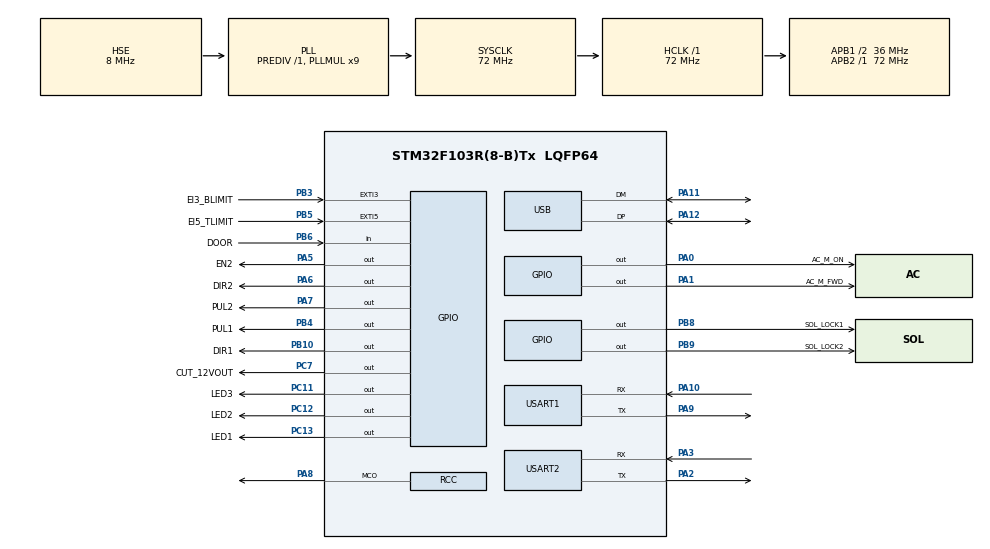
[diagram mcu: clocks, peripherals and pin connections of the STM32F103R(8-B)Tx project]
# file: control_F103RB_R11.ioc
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Mcu.Family=STM32F1
USB_DEVICE.CLASS_NAME_FS=CDC
PB10.GPIO_Speed=GPIO_SPEED_FREQ_HIGH
PC12.Signal=GPIO_Output
PA14.GPIO_Label=SWCLK
NVIC.EXTI3_IRQn=true\:0\:0\:false\:false\:true\:true\:true
PA11.Mode=Device
PA7.GPIO_ModeDefaultOutputPP=GPIO_MODE_OUTPUT_OD
PA6.GPIO_Label=DIR2
PB6.GPIO_Label=DOOR
PB3.GPIO_ModeDefaultEXTI=GPIO_MODE_IT_FALLING
RCC.SYSCLKSource=RCC_SYSCLKSOURCE_PLLCLK
ProjectManager.StackSize=0x400
PD1-OSC_OUT.Signal=RCC_OSC_OUT
PB10.GPIO_ModeDefaultOutputPP=GPIO_MODE_OUTPUT_OD
PA12.Signal=USB_DP
RCC.HCLKFreq_Value=72000000
RCC.APB2TimFreq_Value=72000000
TIM3.Period=719
PB6.Signal=GPIO_Input
PC7.Signal=GPIO_Output
PA1.GPIO_PuPd=GPIO_PULLUP
RCC.AHBFreq_Value=72000000
RCC.PLLMUL=RCC_PLL_MUL9
PA14.Mode=Serial_Wire
TIM3.Prescaler=9999
PC11.GPIO_Label=LED3
PA8.Signal=RCC_MCO
TIM4.Period=7199
Mcu.Package=LQFP64
PB9.Signal=GPIO_Output
PA6.Signal=GPIO_Output
USART2.VirtualMode=VM_ASYNC
PA10.Signal=USART1_RX
PA6.GPIO_ModeDefaultOutputPP=GPIO_MODE_OUTPUT_OD
PB5.GPIO_Label=EI5_TLIMIT
RCC.APB1TimFreq_Value=72000000
PA6.GPIO_Speed=GPIO_SPEED_FREQ_HIGH
NVIC.USART1_IRQn=true\:0\:0\:false\:false\:true\:true\:true
VP_TIM3_VS_ClockSourceINT.Mode=Internal
PB4.Signal=GPIO_Output
PB4.GPIO_ModeDefaultOutputPP=GPIO_MODE_OUTPUT_OD
PA3.Signal=USART2_RX
PB3.GPIO_Label=EI3_BLIMIT
PB5.GPIO_ModeDefaultEXTI=GPIO_MODE_IT_FALLING
PD1-OSC_OUT.Mode=HSE-External-Oscillator
PB9.GPIO_Label=SOL_LOCK2
PA10.Mode=Asynchronous
USB_DEVICE.VirtualModeFS=Cdc_FS
PC11.Signal=GPIO_Output
PC13-TAMPER-RTC.Signal=GPIO_Output
RCC.USBPrescaler=RCC_USBCLKSOURCE_PLL_DIV1_5
PD0-OSC_IN.Signal=RCC_OSC_IN
RCC.APB1CLKDivider=RCC_HCLK_DIV2
NVIC.USART2_IRQn=true\:0\:0\:false\:false\:true\:true\:true
PA0-WKUP.GPIO_Label=AC_M_ON
PA0-WKUP.Signal=GPIO_Output
PA3.Mode=Asynchronous
PA13.Signal=SYS_JTMS-SWDIO
PB8.GPIO_Label=SOL_LOCK1
PA9.Mode=Asynchronous
ProjectManager.TargetToolchain=STM32CubeIDE
PB10.GPIO_Label=DIR1
VP_USB_DEVICE_VS_USB_DEVICE_CDC_FS.Mode=CDC_FS
PA9.Signal=USART1_TX
RCC.USBFreq_Value=48000000
TIM4.Prescaler=9999
PA1.Signal=GPIO_Output
PD0-OSC_IN.Mode=HSE-External-Oscillator
PB10.Signal=GPIO_Output
PA5.Signal=GPIO_Output
board=custom
PC13-TAMPER-RTC.GPIO_Label=LED1
PA7.GPIO_Speed=GPIO_SPEED_FREQ_HIGH
NVIC.TIM3_IRQn=true\:0\:0\:false\:false\:true\:true\:true
PB4.GPIO_Speed=GPIO_SPEED_FREQ_HIGH
RCC.APB2Freq_Value=72000000
PB4.GPIO_Label=PUL1
PA5.GPIO_ModeDefaultOutputPP=GPIO_MODE_OUTPUT_OD
NVIC.USB_LP_CAN1_RX0_IRQn=true\:0\:0\:false\:false\:true\:false\:true
PA1.GPIO_Label=AC_M_FWD
RCC.RCC_MCOSource=RCC_MCO1SOURCE_PLLCLK
PA13.Mode=Serial_Wire
Mcu.Name=STM32F103R(8-B)Tx
PA2.Signal=USART2_TX
PA13.GPIO_Label=SWDIO
PC7.GPIO_Label=CUT_12VOUT
PB3.Signal=GPXTI3
RCC.SYSCLKFreq_VALUE=72000000
PB5.Signal=GPXTI5
PA7.GPIO_Label=PUL2
PA12.Mode=Device
PA5.GPIO_Label=EN2
PC12.GPIO_Label=LED2
USART1.VirtualMode=VM_ASYNC
PA11.Signal=USB_DM
NVIC.EXTI9_5_IRQn=true\:0\:0\:false\:false\:true\:true\:true
PA14.Signal=SYS_JTCK-SWCLK
ProjectManager.HeapSize=0x200
VP_TIM4_VS_ClockSourceINT.Mode=Internal
NVIC.PriorityGroup=NVIC_PRIORITYGROUP_4
PA2.Mode=Asynchronous
PB8.Signal=GPIO_Output
PA0-WKUP.GPIO_PuPd=GPIO_PULLUP
PA8.Mode=Clock-out
NVIC.TIM4_IRQn=true\:0\:0\:false\:false\:true\:true\:true
RCC.APB1Freq_Value=36000000
USB_DEVICE.VirtualMode=Cdc
PA7.Signal=GPIO_Output

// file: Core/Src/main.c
/* USER CODE BEGIN Header */
/**
  ******************************************************************************
  * @file           : main.c
  * @brief          : Main program body
  ******************************************************************************
  * @attention
  *
  * <h2><center>&copy; Copyright (c) 2021 STMicroelectronics.
  * All rights reserved.</center></h2>
  *
  * This software component is licensed by ST under BSD 3-Clause license,
  * the "License"; You may not use this file except in compliance with the
  * License. You may obtain a copy of the License at:
  *                        opensource.org/licenses/BSD-3-Clause
  *
  ******************************************************************************
  */
/* USER CODE END Header */
#include "main.h"
#include "usb_device.h"

/* USER CODE BEGIN Includes */
#include <stdio.h>
#include <string.h>
#include <stdlib.h>
#include "usbd_cdc_if.h"

/* USER CODE END Includes */

/* USER CODE BEGIN PTD */
#define EOT		0x0d   // '\r'  0x0d
#define DEBUGPORT	huart1		// default huart1
#define COMMUART	USART2		// default USART2
#define COMMPORT	huart2    // default huart2
#define COMMDATA	rx2_data	// default rx2_data
#define	ALIVE_PRIOD	180
#define REPORT_DOOR 1
#define	REPORT_CMD	0
#define SOL_LOCK
/* USER CODE END PTD */

TIM_HandleTypeDef htim3;
TIM_HandleTypeDef htim4;

UART_HandleTypeDef huart1;
UART_HandleTypeDef huart2;

/* USER CODE BEGIN PV */
uint8_t COMMDATA;
uint8_t buf_index = 0;
uint8_t Rxcplt_flag = 0;
uint8_t CDC_flag = 0;
uint8_t PAD_boot_flag = 0;
uint8_t door_status = 1;

char CDCbuffer[100] = "";
char Rxbuffer[100] = "";
char Txbuffer[12] = "";	//to add checksum psh 2020.07.28 Again...!!
//char Txbuffer[11] = "";
int time_second = 0;
//int	alive_call_fail = 0;
volatile int alive_call_fail = 0;
int close_check = 0;
int open_check = 0;
int door_check = 0;
int door_check_enable = 0;

struct Board_state {
	char cmd[5];
	char door[5];
	char lock[5];
	char scan[5];
	char end[5];
};
struct Board_state Bstate = { "BS,", "1,", "1,", "0,", "\r" };   // EOT == \r

/* USER CODE END PV */

void SystemClock_Config(void);
static void MX_GPIO_Init(void);
static void MX_USART1_UART_Init(void);
static void MX_USART2_UART_Init(void);
static void MX_TIM4_Init(void);
static void MX_TIM3_Init(void);

/* USER CODE BEGIN PFP */

#ifdef DEBUGPORT
	int _write(int file, char *ptr, int len) {
		HAL_UART_Transmit(&DEBUGPORT, (uint8_t*) ptr, (uint16_t) len, 0xFFFFFFFF);
		return len;
	}
#else
		int _write(int file, char *ptr, int len) {
		CDC_Transmit_FS((uint8_t*) ptr, (uint16_t) len);
		return len;
	}
#endif

void Report_to_Server(int report_path);
void Rfid_Scanning(int speed);		// unit: seconds
// void check_tablet_alive(int max_trying_count);
void check_door(void);
void command_parsing(char *str_ptr);
/* USER CODE END PFP */

int main(void)
{

  /* MCU Configuration--------------------------------------------------------*/

  /* Reset of all peripherals, Initializes the Flash interface and the Systick. */
  HAL_Init();

  /* Configure the system clock */
  SystemClock_Config();

  /* Initialize all configured peripherals */
  MX_GPIO_Init();
  MX_USART1_UART_Init();
  MX_USART2_UART_Init();
  MX_USB_DEVICE_Init();
  MX_TIM4_Init();
  MX_TIM3_Init();
  /* USER CODE BEGIN 2 */
	HAL_UART_Receive_IT(&COMMPORT, &COMMDATA, 1);
	HAL_TIM_Base_Start_IT(&htim3);
	HAL_TIM_Base_Start_IT(&htim4);

	//2020.07.28 psh
	#ifndef SOL_LOCK
	// 2020.07.28 psh - EM lock
		HAL_GPIO_WritePin(SOL_LOCK1_GPIO_Port, SOL_LOCK1_Pin, GPIO_PIN_SET); // unlock SOL_LOCK1 --> LOCK of EM Lock
		HAL_GPIO_WritePin(SOL_LOCK2_GPIO_Port, SOL_LOCK2_Pin, GPIO_PIN_SET); // unlock SOL_LOCK2 --> LOCK of EM Lock
	#endif

	HAL_GPIO_WritePin(AC_M_FWD_GPIO_Port, AC_M_FWD_Pin, GPIO_PIN_SET);	// CW direction
	HAL_GPIO_WritePin(AC_M_ON_GPIO_Port, AC_M_ON_Pin, GPIO_PIN_SET);  // AC Motor Power off

  /* USER CODE END 2 */

  /* Infinite loop */
  /* USER CODE BEGIN WHILE */
		char *str_ptr = NULL;

		printf(" hello? \r\n");
		HAL_GPIO_WritePin(LED3_GPIO_Port, LED3_Pin, GPIO_PIN_SET);		// SCAN LED Off

		while (1) {

			if (CDC_flag == 1) {
				printf(" Received CDC data: %s\r\n", CDCbuffer);
				if (CDCbuffer[0] != '\0') {
					str_ptr = strtok(CDCbuffer, ",");
					printf(" command: %s\r\n", str_ptr);
					command_parsing(str_ptr);
				}
				CDC_flag = 0;
			}

			if (Rxcplt_flag == 1) {
				printf(" Received data: %s\r\n", Rxbuffer);

				if (Rxbuffer[0] != '\0') {
					str_ptr = strtok(Rxbuffer, ",");
					printf(" command: %s\r\n", str_ptr);
					command_parsing(str_ptr);
				}   // end if(Rxbuffer[0] != '\0')
				// buf_index = 0;	move to  void HAL_UART_RxCpltCallback
				Rxcplt_flag = 0;
			}   // end if(Rxcplt_flag == 1)

	/*		if (time_second >= ALIVE_PRIOD)
				check_tablet_alive(3);
	*/
			if (door_check_enable == 1)
				check_door();
    /* USER CODE END WHILE */

  }
}

void SystemClock_Config(void)
{
  RCC_OscInitTypeDef RCC_OscInitStruct = {0};
  RCC_ClkInitTypeDef RCC_ClkInitStruct = {0};
  RCC_PeriphCLKInitTypeDef PeriphClkInit = {0};

  /** Initializes the RCC Oscillators according to the specified parameters
  * in the RCC_OscInitTypeDef structure.
  */
  RCC_OscInitStruct.OscillatorType = RCC_OSCILLATORTYPE_HSE;
  RCC_OscInitStruct.HSEState = RCC_HSE_ON;
  RCC_OscInitStruct.HSEPredivValue = RCC_HSE_PREDIV_DIV1;
  RCC_OscInitStruct.HSIState = RCC_HSI_ON;
  RCC_OscInitStruct.PLL.PLLState = RCC_PLL_ON;
  RCC_OscInitStruct.PLL.PLLSource = RCC_PLLSOURCE_HSE;
  RCC_OscInitStruct.PLL.PLLMUL = RCC_PLL_MUL9;
  if (HAL_RCC_OscConfig(&RCC_OscInitStruct) != HAL_OK)
  {
    Error_Handler();
  }
  /** Initializes the CPU, AHB and APB buses clocks
  */
  RCC_ClkInitStruct.ClockType = RCC_CLOCKTYPE_HCLK|RCC_CLOCKTYPE_SYSCLK
                              |RCC_CLOCKTYPE_PCLK1|RCC_CLOCKTYPE_PCLK2;
  RCC_ClkInitStruct.SYSCLKSource = RCC_SYSCLKSOURCE_PLLCLK;
  RCC_ClkInitStruct.AHBCLKDivider = RCC_SYSCLK_DIV1;
  RCC_ClkInitStruct.APB1CLKDivider = RCC_HCLK_DIV2;
  RCC_ClkInitStruct.APB2CLKDivider = RCC_HCLK_DIV1;

  if (HAL_RCC_ClockConfig(&RCC_ClkInitStruct, FLASH_LATENCY_2) != HAL_OK)
  {
    Error_Handler();
  }
  PeriphClkInit.PeriphClockSelection = RCC_PERIPHCLK_USB;
  PeriphClkInit.UsbClockSelection = RCC_USBCLKSOURCE_PLL_DIV1_5;
  if (HAL_RCCEx_PeriphCLKConfig(&PeriphClkInit) != HAL_OK)
  {
    Error_Handler();
  }
  HAL_RCC_MCOConfig(RCC_MCO, RCC_MCO1SOURCE_PLLCLK, RCC_MCODIV_1);
}

static void MX_TIM3_Init(void)
{

  TIM_ClockConfigTypeDef sClockSourceConfig = {0};
  TIM_MasterConfigTypeDef sMasterConfig = {0};

  htim3.Instance = TIM3;
  htim3.Init.Prescaler = 9999;
  htim3.Init.CounterMode = TIM_COUNTERMODE_UP;
  htim3.Init.Period = 719;
  htim3.Init.ClockDivision = TIM_CLOCKDIVISION_DIV1;
  htim3.Init.AutoReloadPreload = TIM_AUTORELOAD_PRELOAD_DISABLE;
  if (HAL_TIM_Base_Init(&htim3) != HAL_OK)
  {
    Error_Handler();
  }
  sClockSourceConfig.ClockSource = TIM_CLOCKSOURCE_INTERNAL;
  if (HAL_TIM_ConfigClockSource(&htim3, &sClockSourceConfig) != HAL_OK)
  {
    Error_Handler();
  }
  sMasterConfig.MasterOutputTrigger = TIM_TRGO_RESET;
  sMasterConfig.MasterSlaveMode = TIM_MASTERSLAVEMODE_DISABLE;
  if (HAL_TIMEx_MasterConfigSynchronization(&htim3, &sMasterConfig) != HAL_OK)
  {
    Error_Handler();
  }

}

static void MX_TIM4_Init(void)
{

  TIM_ClockConfigTypeDef sClockSourceConfig = {0};
  TIM_MasterConfigTypeDef sMasterConfig = {0};

  htim4.Instance = TIM4;
  htim4.Init.Prescaler = 9999;
  htim4.Init.CounterMode = TIM_COUNTERMODE_UP;
  htim4.Init.Period = 7199;
  htim4.Init.ClockDivision = TIM_CLOCKDIVISION_DIV1;
  htim4.Init.AutoReloadPreload = TIM_AUTORELOAD_PRELOAD_DISABLE;
  if (HAL_TIM_Base_Init(&htim4) != HAL_OK)
  {
    Error_Handler();
  }
  sClockSourceConfig.ClockSource = TIM_CLOCKSOURCE_INTERNAL;
  if (HAL_TIM_ConfigClockSource(&htim4, &sClockSourceConfig) != HAL_OK)
  {
    Error_Handler();
  }
  sMasterConfig.MasterOutputTrigger = TIM_TRGO_RESET;
  sMasterConfig.MasterSlaveMode = TIM_MASTERSLAVEMODE_DISABLE;
  if (HAL_TIMEx_MasterConfigSynchronization(&htim4, &sMasterConfig) != HAL_OK)
  {
    Error_Handler();
  }

}

static void MX_USART1_UART_Init(void)
{

  huart1.Instance = USART1;
  huart1.Init.BaudRate = 115200;
  huart1.Init.WordLength = UART_WORDLENGTH_8B;
  huart1.Init.StopBits = UART_STOPBITS_1;
  huart1.Init.Parity = UART_PARITY_NONE;
  huart1.Init.Mode = UART_MODE_TX_RX;
  huart1.Init.HwFlowCtl = UART_HWCONTROL_NONE;
  huart1.Init.OverSampling = UART_OVERSAMPLING_16;
  if (HAL_UART_Init(&huart1) != HAL_OK)
  {
    Error_Handler();
  }

}

static void MX_USART2_UART_Init(void)
{

  huart2.Instance = USART2;
  huart2.Init.BaudRate = 115200;
  huart2.Init.WordLength = UART_WORDLENGTH_8B;
  huart2.Init.StopBits = UART_STOPBITS_1;
  huart2.Init.Parity = UART_PARITY_NONE;
  huart2.Init.Mode = UART_MODE_TX_RX;
  huart2.Init.HwFlowCtl = UART_HWCONTROL_NONE;
  huart2.Init.OverSampling = UART_OVERSAMPLING_16;
  if (HAL_UART_Init(&huart2) != HAL_OK)
  {
    Error_Handler();
  }

}

static void MX_GPIO_Init(void)
{
  GPIO_InitTypeDef GPIO_InitStruct = {0};

  /* GPIO Ports Clock Enable */
  __HAL_RCC_GPIOC_CLK_ENABLE();
  __HAL_RCC_GPIOD_CLK_ENABLE();
  __HAL_RCC_GPIOA_CLK_ENABLE();
  __HAL_RCC_GPIOB_CLK_ENABLE();

  /*Configure GPIO pin Output Level */
  HAL_GPIO_WritePin(GPIOC, LED1_Pin|CUT_12VOUT_Pin|LED3_Pin|LED2_Pin, GPIO_PIN_RESET);

  /*Configure GPIO pin Output Level */
  HAL_GPIO_WritePin(GPIOA, AC_M_ON_Pin|AC_M_FWD_Pin|EN2_Pin|DIR2_Pin
                          |PUL2_Pin, GPIO_PIN_RESET);

  /*Configure GPIO pin Output Level */
  HAL_GPIO_WritePin(GPIOB, DIR1_Pin|PUL1_Pin|SOL_LOCK1_Pin|SOL_LOCK2_Pin, GPIO_PIN_RESET);

  /*Configure GPIO pins : LED1_Pin CUT_12VOUT_Pin LED3_Pin LED2_Pin */
  GPIO_InitStruct.Pin = LED1_Pin|CUT_12VOUT_Pin|LED3_Pin|LED2_Pin;
  GPIO_InitStruct.Mode = GPIO_MODE_OUTPUT_PP;
  GPIO_InitStruct.Pull = GPIO_NOPULL;
  GPIO_InitStruct.Speed = GPIO_SPEED_FREQ_LOW;
  HAL_GPIO_Init(GPIOC, &GPIO_InitStruct);

  /*Configure GPIO pins : AC_M_ON_Pin AC_M_FWD_Pin */
  GPIO_InitStruct.Pin = AC_M_ON_Pin|AC_M_FWD_Pin;
  GPIO_InitStruct.Mode = GPIO_MODE_OUTPUT_PP;
  GPIO_InitStruct.Pull = GPIO_PULLUP;
  GPIO_InitStruct.Speed = GPIO_SPEED_FREQ_LOW;
  HAL_GPIO_Init(GPIOA, &GPIO_InitStruct);

  /*Configure GPIO pin : EN2_Pin */
  GPIO_InitStruct.Pin = EN2_Pin;
  GPIO_InitStruct.Mode = GPIO_MODE_OUTPUT_OD;
  GPIO_InitStruct.Pull = GPIO_NOPULL;
  GPIO_InitStruct.Speed = GPIO_SPEED_FREQ_LOW;
  HAL_GPIO_Init(EN2_GPIO_Port, &GPIO_InitStruct);

  /*Configure GPIO pins : DIR2_Pin PUL2_Pin */
  GPIO_InitStruct.Pin = DIR2_Pin|PUL2_Pin;
  GPIO_InitStruct.Mode = GPIO_MODE_OUTPUT_OD;
  GPIO_InitStruct.Pull = GPIO_NOPULL;
  GPIO_InitStruct.Speed = GPIO_SPEED_FREQ_HIGH;
  HAL_GPIO_Init(GPIOA, &GPIO_InitStruct);

  /*Configure GPIO pins : DIR1_Pin PUL1_Pin */
  GPIO_InitStruct.Pin = DIR1_Pin|PUL1_Pin;
  GPIO_InitStruct.Mode = GPIO_MODE_OUTPUT_OD;
  GPIO_InitStruct.Pull = GPIO_NOPULL;
  GPIO_InitStruct.Speed = GPIO_SPEED_FREQ_HIGH;
  HAL_GPIO_Init(GPIOB, &GPIO_InitStruct);

  /*Configure GPIO pin : PA8 */
  GPIO_InitStruct.Pin = GPIO_PIN_8;
  GPIO_InitStruct.Mode = GPIO_MODE_AF_PP;
  GPIO_InitStruct.Speed = GPIO_SPEED_FREQ_LOW;
  HAL_GPIO_Init(GPIOA, &GPIO_InitStruct);

  /*Configure GPIO pins : EI3_BLIMIT_Pin EI5_TLIMIT_Pin */
  GPIO_InitStruct.Pin = EI3_BLIMIT_Pin|EI5_TLIMIT_Pin;
  GPIO_InitStruct.Mode = GPIO_MODE_IT_FALLING;
  GPIO_InitStruct.Pull = GPIO_NOPULL;
  HAL_GPIO_Init(GPIOB, &GPIO_InitStruct);

  /*Configure GPIO pin : DOOR_Pin */
  GPIO_InitStruct.Pin = DOOR_Pin;
  GPIO_InitStruct.Mode = GPIO_MODE_INPUT;
  GPIO_InitStruct.Pull = GPIO_NOPULL;
  HAL_GPIO_Init(DOOR_GPIO_Port, &GPIO_InitStruct);

  /*Configure GPIO pins : SOL_LOCK1_Pin SOL_LOCK2_Pin */
  GPIO_InitStruct.Pin = SOL_LOCK1_Pin|SOL_LOCK2_Pin;
  GPIO_InitStruct.Mode = GPIO_MODE_OUTPUT_PP;
  GPIO_InitStruct.Pull = GPIO_NOPULL;
  GPIO_InitStruct.Speed = GPIO_SPEED_FREQ_LOW;
  HAL_GPIO_Init(GPIOB, &GPIO_InitStruct);

  /* EXTI interrupt init*/
  HAL_NVIC_SetPriority(EXTI3_IRQn, 0, 0);
  HAL_NVIC_EnableIRQ(EXTI3_IRQn);

  HAL_NVIC_SetPriority(EXTI9_5_IRQn, 0, 0);
  HAL_NVIC_EnableIRQ(EXTI9_5_IRQn);

}

/* USER CODE BEGIN 4 */
void command_parsing(char *str_ptr) {

	if (!strcmp(str_ptr, "OK")) {
		printf(" OK signal received\r\n");
		str_ptr = strtok(NULL, ",");
		PAD_boot_flag = 1;
		alive_call_fail = 0;

	} else if (!strcmp(str_ptr, "BR")) {
		printf(" Board Read\r\n");
		str_ptr = strtok(NULL, ",");
		Report_to_Server(REPORT_CMD);

	} else if (!strcmp(str_ptr, "UD")) {
		printf(" Unlock Door\r\n");
		str_ptr = strtok(NULL, ",");

#ifdef SOL_LOCK
	  HAL_GPIO_WritePin(SOL_LOCK1_GPIO_Port, SOL_LOCK1_Pin, GPIO_PIN_SET);  // unlock SOL_LOCK1
	  HAL_GPIO_WritePin(SOL_LOCK2_GPIO_Port, SOL_LOCK2_Pin, GPIO_PIN_SET);  // unlock SOL_LOCK2
#else
		// 2020.07.28 psh - EM lock
		HAL_GPIO_WritePin(SOL_LOCK1_GPIO_Port, SOL_LOCK1_Pin, GPIO_PIN_RESET); // lock SOL_LOCK1 ---> Unlock of EM Lock
		HAL_GPIO_WritePin(SOL_LOCK2_GPIO_Port, SOL_LOCK2_Pin, GPIO_PIN_RESET); // lock SOL_LOCK2 ---> Unlock of EM Lock
#endif
	//	HAL_Delay(1000);	// 1s delay for unlock operation
		strcpy(Bstate.lock, "0,");  // 占쏙옙占쏙옙 占쏙옙占쏙옙
		HAL_GPIO_WritePin(LED2_GPIO_Port, LED2_Pin, GPIO_PIN_SET);  // LED2 Off

		Report_to_Server(REPORT_CMD);

	} else if (!strcmp(str_ptr, "LD")) {
		printf(" Lock Door\r\n");
		str_ptr = strtok(NULL, ",");

#ifdef SOL_LOCK
	  HAL_GPIO_WritePin(SOL_LOCK1_GPIO_Port, SOL_LOCK1_Pin, GPIO_PIN_RESET);  // lock SOL_LOCK1
	  HAL_GPIO_WritePin(SOL_LOCK2_GPIO_Port, SOL_LOCK2_Pin, GPIO_PIN_RESET);  // lock SOL_LOCK2
#else
// 2020.07.28 psh - EM lock
		HAL_GPIO_WritePin(SOL_LOCK1_GPIO_Port, SOL_LOCK1_Pin, GPIO_PIN_SET); // unlock SOL_LOCK1  ---> Lock of EM Lock
		HAL_GPIO_WritePin(SOL_LOCK2_GPIO_Port, SOL_LOCK2_Pin, GPIO_PIN_SET); // unlock SOL_LOCK2  ---> Lock of EM Lock
#endif

	//	HAL_Delay(1000);	// 1s delay for lock operation
		strcpy(Bstate.lock, "1,");  // 占쏙옙占쏙옙 占쏙옙占쏙옙
		HAL_GPIO_WritePin(LED2_GPIO_Port, LED2_Pin, GPIO_PIN_RESET);	// LED2 On

		Report_to_Server(REPORT_CMD);

	} else if (!strcmp(str_ptr, "RS")) {
		printf(" RFID Scanning\r\n");
		str_ptr = strtok(NULL, ",");

		if (str_ptr == '\0') {
			printf(" need more parameter!\r\n");
		} else {
			printf(" speed:%s\r\n", str_ptr);
			// HAL_Delay(1000);
			Rfid_Scanning(atoi(str_ptr));

			Report_to_Server(REPORT_CMD);
		}
	}
}

void check_door(void) {
	door_check_enable = 0;

	if (HAL_GPIO_ReadPin(DOOR_GPIO_Port, DOOR_Pin) == GPIO_PIN_SET)
		open_check++;   // open
	else
		close_check++;  // close

	if (door_check > 3) {  // 5 times when door_check is 0,1,2,3,4
		if (open_check > 3) { // open
			HAL_GPIO_WritePin(LED1_GPIO_Port, LED1_Pin, GPIO_PIN_SET);
			if (!strcmp(Bstate.door, "1,")) {    // "1," == closed
				strcpy(Bstate.door, "0,");
				Report_to_Server(REPORT_DOOR);
				printf(" Door is opened!\r\n");
			}
		}
		if (close_check > 3) {  //close
			HAL_GPIO_WritePin(LED1_GPIO_Port, LED1_Pin, GPIO_PIN_RESET);
			if (!strcmp(Bstate.door, "0,")) {	// "0," == opened
				strcpy(Bstate.door, "1,");
				Report_to_Server(REPORT_DOOR);
				printf(" Door is closed!\r\n");
			}
		}
		door_check = 0;
		open_check = 0;
		close_check = 0;

	} else
		door_check++;

}
/*
void check_tablet_alive(int max_trying_count) {
	CDC_Transmit_FS((uint8_t*) "callme\r", (uint16_t) strlen("callme\r"));
	HAL_UART_Transmit(&COMMPORT, (uint8_t*) "callme\r", (uint16_t) strlen("callme\r"), 0xFFFFFFFF);
	printf(" alive calling!\r\n");
	if (PAD_boot_flag == 1) {
		alive_call_fail++;
	}
	time_second = 0;

	if (alive_call_fail >= max_trying_count) { // check alive for 'max_trying_count' times
		HAL_GPIO_WritePin(CUT_12VOUT_GPIO_Port, CUT_12VOUT_Pin, GPIO_PIN_SET);
		printf(" Tablet died, rebooted!\r\n"); // control relay for powering tablet
		HAL_Delay(2000);
		HAL_GPIO_WritePin(CUT_12VOUT_GPIO_Port, CUT_12VOUT_Pin, GPIO_PIN_RESET);
		alive_call_fail = 0;
		PAD_boot_flag = 0;
	}
}
*/

void Report_to_Server(int report_path) {
	int total = 0, sum = 0;

	for (int i = 0; i < 3; i++)
		sum += Bstate.cmd[i];

	for (int i = 0; i < 2; i++) {
		sum += Bstate.door[i];
		sum += Bstate.lock[i];
		sum += Bstate.scan[i];
	}
	sum += Bstate.end[0];
	total = sum;
	total = total & 0xff;
	total = ~total + 1;

	sprintf(Txbuffer, "%s%s%s%s%s", Bstate.cmd, Bstate.door, Bstate.lock, Bstate.scan, Bstate.end);
	printf(" Txbuffer: %s\r\n", Txbuffer);

	Txbuffer[10] = total;	//checksum by psh

	if (report_path == REPORT_CMD) {
		if (Rxcplt_flag == 1) {
			HAL_UART_Transmit(&COMMPORT, (uint8_t*) Txbuffer, (uint16_t) strlen(Txbuffer), 0xFFFFFFFF);
		} else if (CDC_flag == 1) {
			CDC_Transmit_FS((uint8_t*) Txbuffer, (uint16_t) strlen(Txbuffer));
		}
	} else if (report_path == REPORT_DOOR) {
		CDC_Transmit_FS((uint8_t*) Txbuffer, (uint16_t) strlen(Txbuffer));
		HAL_UART_Transmit(&COMMPORT, (uint8_t*) Txbuffer, (uint16_t) strlen(Txbuffer), 0xFFFFFFFF);
	}

	/*
	 if(report_path == REPORT_CMD) {
	 if(Rxcplt_flag == 1) {
	 HAL_UART_Transmit(&COMMPORT, (uint8_t *)Txbuffer, (uint16_t)strlen(Txbuffer), 0xFFFFFFFF);
	 } else if(CDC_flag == 1) {
	 CDC_Transmit_FS((uint8_t*) Txbuffer, (uint16_t)strlen(Txbuffer));
	 }
	 } else if(report_path == REPORT_DOOR) {
	 CDC_Transmit_FS((uint8_t*) Txbuffer, (uint16_t)strlen(Txbuffer));
	 HAL_UART_Transmit(&COMMPORT, (uint8_t *)Txbuffer, (uint16_t)strlen(Txbuffer), 0xFFFFFFFF);
	 }
	 */
}

void Rfid_Scanning(int speed) {
	// uint8_t i = 0;

	printf(" scanning...... \r\n");

	strcpy(Bstate.scan, "1,");
	Report_to_Server(REPORT_CMD);

	HAL_GPIO_WritePin(LED3_GPIO_Port, LED3_Pin, GPIO_PIN_RESET);		// SCAN LED ON

	time_second = 0;
	if(speed != 0) {  // first normal scanning
		HAL_Delay(2000);		// wait 2s for operating RFID Reader
		HAL_GPIO_WritePin(AC_M_FWD_GPIO_Port, AC_M_FWD_Pin, GPIO_PIN_RESET);	// CW(UP) direction
		HAL_Delay(10);
		HAL_GPIO_WritePin(AC_M_ON_GPIO_Port, AC_M_ON_Pin, GPIO_PIN_RESET);  // AC Motor Power on
		while((HAL_GPIO_ReadPin(EI5_TLIMIT_GPIO_Port, EI5_TLIMIT_Pin) == GPIO_PIN_SET) && time_second < 20);		// Top position?

		HAL_GPIO_WritePin(AC_M_ON_GPIO_Port, AC_M_ON_Pin, GPIO_PIN_SET);	// AC Motor Power off
		HAL_Delay(1000);
		HAL_GPIO_WritePin(AC_M_ON_GPIO_Port, AC_M_ON_Pin, GPIO_PIN_RESET);  // AC Motor Power on
		while((HAL_GPIO_ReadPin(EI5_TLIMIT_GPIO_Port, EI5_TLIMIT_Pin) == GPIO_PIN_SET) && time_second < 20);		// Top position?

		HAL_GPIO_WritePin(AC_M_ON_GPIO_Port, AC_M_ON_Pin, GPIO_PIN_SET);	// AC Motor Power off
		HAL_Delay(10);
		HAL_GPIO_WritePin(AC_M_FWD_GPIO_Port, AC_M_FWD_Pin, GPIO_PIN_SET);	// CCW(DOWN) direction
		HAL_Delay(1000);													// delay 3s --> 1.5s
		HAL_GPIO_WritePin(AC_M_ON_GPIO_Port, AC_M_ON_Pin, GPIO_PIN_RESET);  // AC Motor Power on

		while((HAL_GPIO_ReadPin(EI3_BLIMIT_GPIO_Port, EI3_BLIMIT_Pin) == GPIO_PIN_SET) && time_second < 20);		// Bottom position

		HAL_GPIO_WritePin(AC_M_ON_GPIO_Port, AC_M_ON_Pin, GPIO_PIN_SET);	// AC Motor Power off

		HAL_Delay(10);
		HAL_GPIO_WritePin(AC_M_FWD_GPIO_Port, AC_M_FWD_Pin, GPIO_PIN_RESET);	// CW(UP) direction

	} else {	// end of if(speed != 0)

			printf(" retrying scan in slow speed %d ...... \r\n", speed);		// retrying scan in slow speed
			HAL_Delay(3000);		// wait 3s for operating RFID Reader
			HAL_GPIO_WritePin(AC_M_FWD_GPIO_Port, AC_M_FWD_Pin, GPIO_PIN_RESET);	// CW(UP) direction
			HAL_Delay(10);
			HAL_GPIO_WritePin(AC_M_ON_GPIO_Port, AC_M_ON_Pin, GPIO_PIN_RESET);  // AC Motor Power on
			while((HAL_GPIO_ReadPin(EI5_TLIMIT_GPIO_Port, EI5_TLIMIT_Pin) == GPIO_PIN_SET) && time_second < 20);		// Top position?

			HAL_GPIO_WritePin(AC_M_ON_GPIO_Port, AC_M_ON_Pin, GPIO_PIN_SET);	// AC Motor Power off
			HAL_Delay(1000);
			HAL_GPIO_WritePin(AC_M_ON_GPIO_Port, AC_M_ON_Pin, GPIO_PIN_RESET);  // AC Motor Power on
			while((HAL_GPIO_ReadPin(EI5_TLIMIT_GPIO_Port, EI5_TLIMIT_Pin) == GPIO_PIN_SET) && time_second < 20);		// Top position?

			HAL_GPIO_WritePin(AC_M_ON_GPIO_Port, AC_M_ON_Pin, GPIO_PIN_SET);	// AC Motor Power off
			HAL_Delay(1000);
			HAL_GPIO_WritePin(AC_M_ON_GPIO_Port, AC_M_ON_Pin, GPIO_PIN_RESET);  // AC Motor Power on
			while((HAL_GPIO_ReadPin(EI5_TLIMIT_GPIO_Port, EI5_TLIMIT_Pin) == GPIO_PIN_SET) && time_second < 20);		// Top position?

			HAL_GPIO_WritePin(AC_M_ON_GPIO_Port, AC_M_ON_Pin, GPIO_PIN_SET);	// AC Motor Power off
			HAL_Delay(1000);
			HAL_GPIO_WritePin(AC_M_ON_GPIO_Port, AC_M_ON_Pin, GPIO_PIN_RESET);  // AC Motor Power on
			while((HAL_GPIO_ReadPin(EI5_TLIMIT_GPIO_Port, EI5_TLIMIT_Pin) == GPIO_PIN_SET) && time_second < 20);		// Top position?

			HAL_GPIO_WritePin(AC_M_ON_GPIO_Port, AC_M_ON_Pin, GPIO_PIN_SET);	// AC Motor Power off
			HAL_Delay(10);
			HAL_GPIO_WritePin(AC_M_FWD_GPIO_Port, AC_M_FWD_Pin, GPIO_PIN_SET);	// CCW(DOWN) direction
			HAL_Delay(1000);													// delay 1s
			HAL_GPIO_WritePin(AC_M_ON_GPIO_Port, AC_M_ON_Pin, GPIO_PIN_RESET);  // AC Motor Power on

			while((HAL_GPIO_ReadPin(EI3_BLIMIT_GPIO_Port, EI3_BLIMIT_Pin) == GPIO_PIN_SET) && time_second < 20);		// Bottom position

			HAL_GPIO_WritePin(AC_M_ON_GPIO_Port, AC_M_ON_Pin, GPIO_PIN_SET);	// AC Motor Power off

			HAL_Delay(10);
			HAL_GPIO_WritePin(AC_M_FWD_GPIO_Port, AC_M_FWD_Pin, GPIO_PIN_RESET);	// CW(UP) direction

	}

	if(time_second <= 20 ) {
	HAL_GPIO_WritePin(LED3_GPIO_Port, LED3_Pin, GPIO_PIN_SET);		// SCAN LED Off
		strcpy(Bstate.scan, "0,");  // end of scan
		printf(" scan is completed!!\r\n");
	} else
	{
		// strcpy(Bstate.scan, "1,");  // Motor operation is fail
		printf(" Motor operation is fail!!\r\n");
		// while(1);
	}
}

void HAL_UART_RxCpltCallback(UART_HandleTypeDef *huart) {
	// printf("RxINT_Routine");

	if (huart->Instance == COMMUART) {
		if (COMMDATA == EOT) {
			Rxbuffer[buf_index] = '\0';
			buf_index = 0;
			Rxcplt_flag = 1;
		} else if (COMMDATA != 0x00) {			// except NULL(0x00)
			Rxbuffer[buf_index++] = COMMDATA;
		}

		HAL_UART_Receive_IT(&COMMPORT, &COMMDATA, 1);

	}
}

void HAL_TIM_PeriodElapsedCallback(TIM_HandleTypeDef *htim) {
	/* if (htim->Instance == TIM4) {
		time_second++;
		// HAL_GPIO_TogglePin(LED3_GPIO_Port, LED3_Pin);
		// printf(" alive_call_fail: %d,  time: %d\r\n", alive_call_fail, time_second);
		// CDC_Transmit_FS("CDC_TX test...\r\n", sizeof("CDC_TX test...\r\n"));  // test only
	} */
	if (htim->Instance == TIM4) {
		time_second++;
		printf(" current time: %d\r\n", time_second);

	}

	if (htim->Instance == TIM3) {
		door_check_enable = 1;
	}
}

void HAL_GPIO_EXTI_Callback(uint16_t GPIO_Pin) {
	if(GPIO_Pin == EI5_TLIMIT_Pin) {
		printf("TLIMIT click!!!\r\n");
	 }

	if(GPIO_Pin == EI3_BLIMIT_Pin) {
		printf("BLIMIT click!!!\r\n");
	 }

}

/* USER CODE END 4 */

void Error_Handler(void)
{
  __disable_irq();
  while (1)
  {
  }
}

/************************ (C) COPYRIGHT STMicroelectronics *****END OF FILE****/
